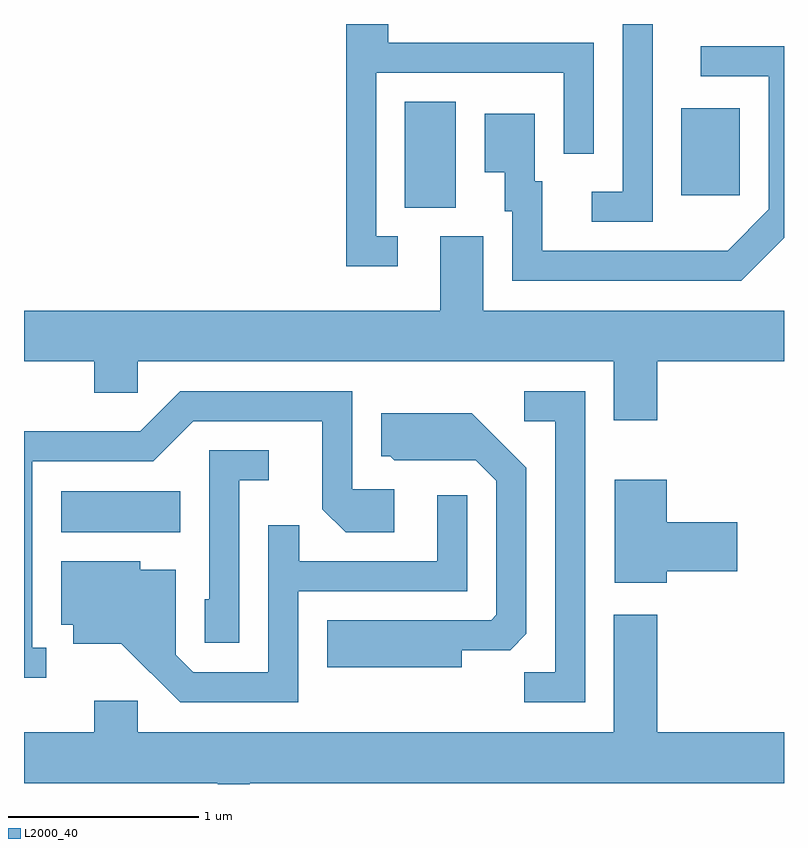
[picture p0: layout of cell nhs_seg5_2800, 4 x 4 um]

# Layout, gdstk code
import gdstk
lib = gdstk.Library(unit=1e-6, precision=1e-09)
def R(c, l, rs):  # rectangles x0, y0, x1, y1
    for r in rs: c.add(gdstk.rectangle(r[:2], r[2:], *l))
def P(c, l, *ps):  # polygons
    for p in ps: c.add(gdstk.Polygon(p, *l))
L2000_40 = (2000, 40)

nhs_seg5_2800 = lib.new_cell('nhs_seg5_2800')
R(nhs_seg5_2800, L2000_40, [(267.806,1511.396,268.434,1511.614), (269.616,1513.106,269.884,1513.664), (271.071,1513.171,271.379,1513.629)])
P(nhs_seg5_2800, L2000_40, [(269.578,1512.954),(269.464,1512.954),(269.464,1513.816),(270.451,1513.816),(270.451,1513.388),(270.609,1513.388),(270.609,1513.974),(269.529,1513.974),(269.529,1514.072),(269.306,1514.072),(269.306,1512.796),(269.578,1512.796)],
  [(270.919,1514.072),(270.761,1514.072),(270.761,1513.189),(270.598,1513.189),(270.598,1513.031),(270.919,1513.031)],
  [(271.611,1512.946),(271.611,1513.954),(271.173,1513.954),(271.173,1513.796),(271.531,1513.796),(271.531,1513.097),(271.314,1512.879),(270.339,1512.879),(270.339,1513.244),(270.299,1513.244),(270.299,1513.599),(270.036,1513.599),(270.036,1513.291),(270.141,1513.291),(270.141,1513.086),(270.181,1513.086),(270.181,1512.721),(271.387,1512.721)],
  [(270.944,1512.296),(271.611,1512.296),(271.611,1512.564),(270.029,1512.564),(270.029,1512.954),(269.801,1512.954),(269.801,1512.564),(267.611,1512.564),(267.611,1512.296),(267.981,1512.296),(267.981,1512.131),(268.209,1512.131),(268.209,1512.296),(270.716,1512.296),(270.716,1511.986),(270.944,1511.986)],
  [(267.728,1510.789),(267.654,1510.789),(267.654,1511.771),(268.292,1511.771),(268.502,1511.981),(269.181,1511.981),(269.181,1511.519),(269.304,1511.396),(269.559,1511.396),(269.559,1511.624),(269.339,1511.624),(269.339,1512.139),(268.434,1512.139),(268.224,1511.929),(267.611,1511.929),(267.611,1510.631),(267.728,1510.631)],
  [(270.564,1512.139),(270.243,1512.139),(270.243,1511.981),(270.406,1511.981),(270.406,1510.659),(270.243,1510.659),(270.243,1510.501),(270.564,1510.501)],
  [(269.914,1510.776),(270.169,1510.776),(270.254,1510.862),(270.254,1511.737),(269.967,1512.024),(269.491,1512.024),(269.491,1511.796),(269.539,1511.796),(269.559,1511.776),(269.989,1511.776),(270.096,1511.669),(270.096,1510.962),(270.069,1510.934),(269.206,1510.934),(269.206,1510.686),(269.914,1510.686)],
  [(268.744,1511.671),(268.898,1511.671),(268.898,1511.829),(268.586,1511.829),(268.586,1511.044),(268.561,1511.044),(268.561,1510.816),(268.744,1510.816)],
  [(270.994,1511.191),(271.364,1511.191),(271.364,1511.449),(270.994,1511.449),(270.994,1511.674),(270.721,1511.674),(270.721,1511.131),(270.994,1511.131)],
  [(269.054,1511.086),(269.944,1511.086),(269.944,1511.593),(269.786,1511.593),(269.786,1511.244),(269.059,1511.244),(269.059,1511.433),(268.896,1511.433),(268.896,1510.659),(268.502,1510.659),(268.409,1510.752),(268.409,1511.199),(268.224,1511.199),(268.224,1511.244),(267.806,1511.244),(267.806,1510.911),(267.871,1510.911),(267.871,1510.811),(268.124,1510.811),(268.434,1510.501),(269.054,1510.501)],
  [(268.799,1510.076),(271.611,1510.076),(271.611,1510.344),(270.944,1510.344),(270.944,1510.964),(270.716,1510.964),(270.716,1510.344),(268.209,1510.344),(268.209,1510.509),(267.981,1510.509),(267.981,1510.344),(267.611,1510.344),(267.611,1510.076),(268.631,1510.076),(268.631,1510.072),(268.799,1510.072)])

lib.write_gds('nhs_seg5_2800.gds')
